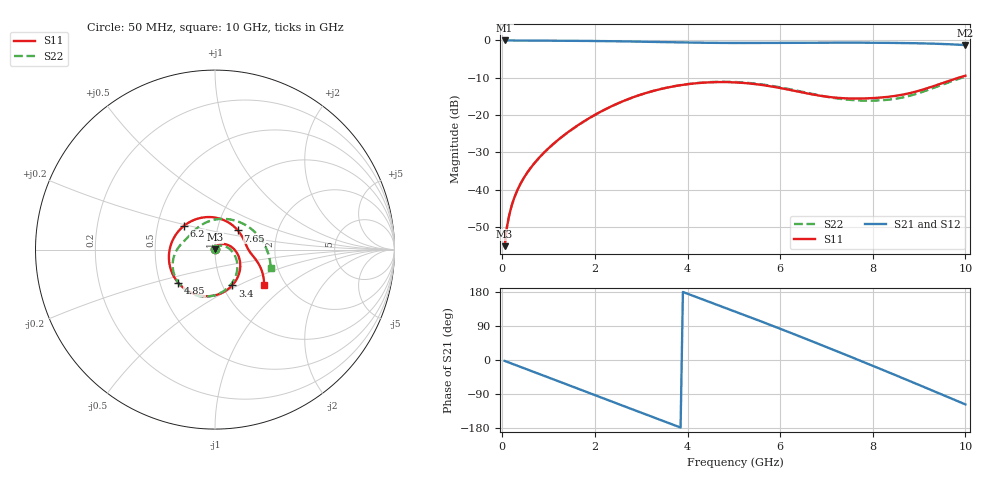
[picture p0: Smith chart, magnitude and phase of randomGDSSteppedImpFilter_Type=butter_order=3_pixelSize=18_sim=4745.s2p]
! freq	dB(S11)	phase(S11)	dB(S12)	phase(S12)
!  dB(S21)	phase(S21)	dB(S22)	phase(S22)
!S-par simulation data
#  GHz  S  DB  R 50
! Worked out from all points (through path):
!   200 points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, 50 MHz to 10 GHz, reference 50 ohm
!   highest |S21| = 0.00 dB at 50 MHz (marker M1); lowest = -1.2 dB at 10 GHz (marker M2)
!   group delay of S21, straight-line fit = 132 ps
!   lowest |S11| = -55.2 dB at 50 MHz (marker M3), VSWR 1.00, Z = 50 + j0.169 ohm
!   |S11| at or under -10 dB: start of sweep to 9.85 GHz
!   |S22| runs from -55.2 to -9.7 dB; largest |S21 - S12| = 0
!   S11 on the Smith chart (normalised r, x): 50 MHz: 1.00, +0.00; 3.4 GHz: 1.11, -0.47; 4.85 GHz: 0.62, -0.25; 6.2 GHz: 0.68, +0.19; 7.65 GHz: 1.26, +0.28; 10 GHz: 1.56, -0.70
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0.05  -55.19 76.5  -0.00 -2.4  -0.00 -2.4  -55.18 76.5
0.1  -50.06 77.4  -0.01 -4.7  -0.01 -4.7  -50.02 75.9
0.2  -44.43 77.6  -0.02 -9.3  -0.02 -9.3  -44.42 74.4
0.5  -36.18 69.7  -0.03 -23.2  -0.03 -23.2  -36.20 62.2
1.15  -27.24 43.9  -0.07 -53.2  -0.07 -53.2  -27.29 30.9
1.75  -21.81 16.5  -0.12 -81.0  -0.12 -81.0  -21.86 3.0
2.5  -16.86 -19.6  -0.23 -115.9  -0.23 -115.9  -16.88 -30.6
2.95  -14.70 -41.9  -0.32 -136.7  -0.32 -136.7  -14.71 -50.4
3.4  -13.10 -64.3  -0.42 -157.5  -0.42 -157.5  -13.09 -69.7
4.1  -11.59 -99.3  -0.58 170.3  -0.58 170.3  -11.55 -98.8
4.85  -11.18 -137.8  -0.67 136.0  -0.67 136.0  -11.09 -128.3
5.05  -11.27 -148.5  -0.68 126.9  -0.68 126.9  -11.16 -135.9
5.65  -12.02 177.4  -0.67 99.0  -0.67 99.0  -11.86 -157.4
6.2  -13.25 142.5  -0.62 73.0  -0.62 73.0  -13.06 -175.1
6.7  -14.49 107.1  -0.59 48.8  -0.59 48.8  -14.38 170.8
7.2  -15.36 70.1  -0.58 24.4  -0.58 24.4  -15.51 157.3
7.65  -15.59 40.1  -0.59 2.1  -0.59 2.1  -16.06 142.1
8.35  -15.10 7.6  -0.65 -32.9  -0.65 -32.9  -15.88 104.0
8.8  -14.13 -4.5  -0.72 -55.6  -0.72 -55.6  -14.83 70.5
9.2  -12.72 -13.2  -0.82 -76.1  -0.82 -76.1  -13.24 39.1
9.6  -11.02 -23.2  -0.99 -96.7  -0.99 -96.7  -11.39 9.4
10  -9.45 -35.9  -1.24 -117.2  -1.24 -117.2  -9.74 -17.9
